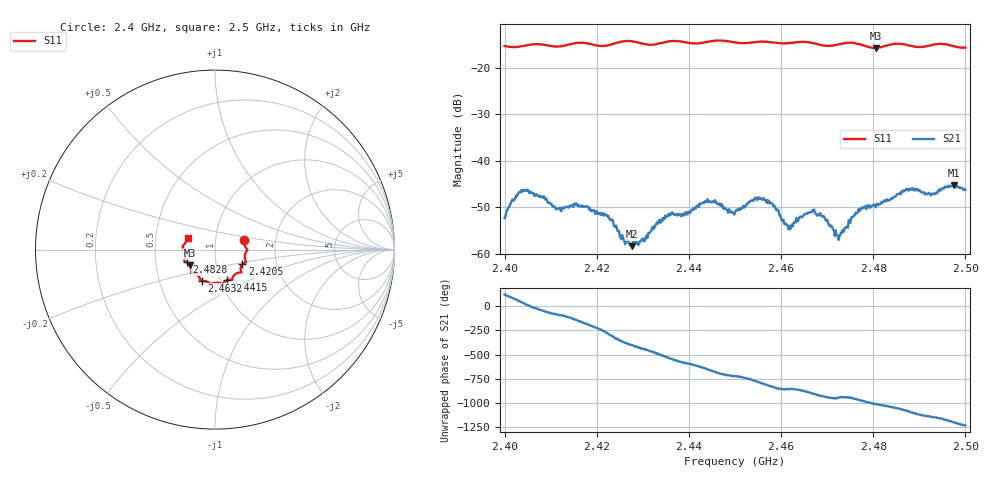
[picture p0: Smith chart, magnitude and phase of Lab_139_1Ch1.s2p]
# Hz S RI R 50
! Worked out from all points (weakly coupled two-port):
!   601 points, 2.4 GHz to 2.5 GHz, reference 50 ohm
!   highest |S21| = -45.30 dB at 2.4975 GHz (marker M1); lowest = -58.4 dB at 2.4277 GHz (marker M2)
!   lowest |S11| = -15.7 dB at 2.4805 GHz (marker M3), VSWR 1.39, Z = 37.3 - j6.69 ohm
!   |S11| at or under -10 dB: start of sweep to end of sweep
!   S12 and S22 are empty: the file has one direction only
!   S11 on the Smith chart (normalised r, x): 2.4 GHz: 1.38, +0.15; 2.4205 GHz: 1.34, -0.23; 2.4415 GHz: 1.07, -0.38; 2.4632 GHz: 0.82, -0.29; 2.4828 GHz: 0.72, -0.10; 2.5 GHz: 0.73, +0.10
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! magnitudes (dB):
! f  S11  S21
! 2.4 GHz  -15.3  -52.3
! 2.4042 GHz  -15.3  -46.5
! 2.4118 GHz  -15.4  -50.3
! 2.4167 GHz  -14.6  -49.7
! 2.4205 GHz  -15.3  -51.4
! 2.4277 GHz  -14.3  -58.4
! 2.4333 GHz  -14.8  -53.5
! 2.4415 GHz  -14.7  -50.3
! 2.4455 GHz  -14.2  -48.7
! 2.45 GHz  -14.5  -51.2
! 2.4558 GHz  -14.3  -48.4
! 2.4612 GHz  -14.7  -53.6
! 2.4632 GHz  -14.5  -53.3
! 2.4667 GHz  -14.6  -51.1
! 2.4725 GHz  -14.9  -57.1
! 2.4772 GHz  -14.9  -50.4
! 2.4805 GHz  -15.7  -50.0
! 2.4828 GHz  -15.2  -48.5
! 2.4833 GHz  -15.1  -48.5
! 2.4875 GHz  -15.1  -46.1
! 2.4975 GHz  -15.3  -45.3
! 2.5 GHz  -15.6  -46.2
